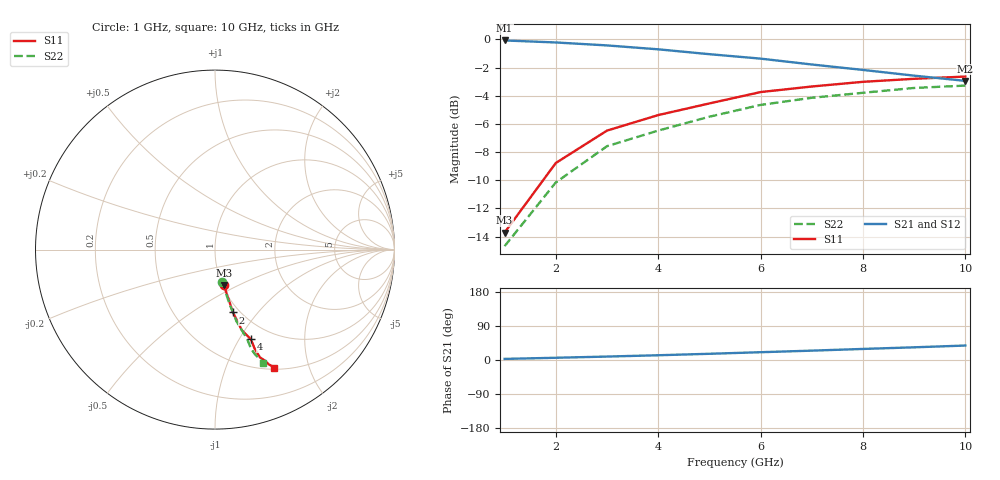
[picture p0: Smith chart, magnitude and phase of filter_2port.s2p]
! 2-port S-parameters, 1-10 GHz, RI format
# GHz S RI R 50
! freq ReS11 ImS11 ReS21 ImS21 ReS12 ImS12 ReS22 ImS22
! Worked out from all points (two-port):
!   10 points, 1 GHz to 10 GHz, reference 50 ohm
!   highest |S21| = -0.08 dB at 1 GHz (marker M1); lowest = -2.9 dB at 10 GHz (marker M2)
!   |S21| within 3 dB of the highest: start of sweep to end of sweep
!   lowest |S11| = -13.7 dB at 1 GHz (marker M3), VSWR 1.52, Z = 50.8 - j21.2 ohm
!   |S11| at or under -10 dB: start of sweep to 1.753 GHz
!   |S22| runs from -14.7 to -3.3 dB; largest |S21 - S12| = 0
!   S11 on the Smith chart (normalised r, x): 1 GHz: 1.02, -0.42; 2 GHz: 0.93, -0.75; 4 GHz: 0.80, -1.12; 10 GHz: 0.51, -1.49
1  0.05 -0.2  0.99 0.05  0.99 0.05  0.04 -0.18
2  0.1 -0.35  0.97 0.1  0.97 0.1  0.08 -0.3
3  0.15 -0.45  0.94 0.15  0.94 0.15  0.12 -0.4
4  0.2 -0.5  0.9 0.2  0.9 0.2  0.15 -0.45
5  0.22 -0.55  0.85 0.25  0.85 0.25  0.18 -0.5
6  0.25 -0.6  0.8 0.3  0.8 0.3  0.2 -0.55
7  0.28 -0.62  0.74 0.34  0.74 0.34  0.22 -0.58
8  0.3 -0.64  0.68 0.38  0.68 0.38  0.24 -0.6
9  0.32 -0.65  0.62 0.41  0.62 0.41  0.26 -0.62
10  0.33 -0.66  0.56 0.44  0.56 0.44  0.27 -0.63
